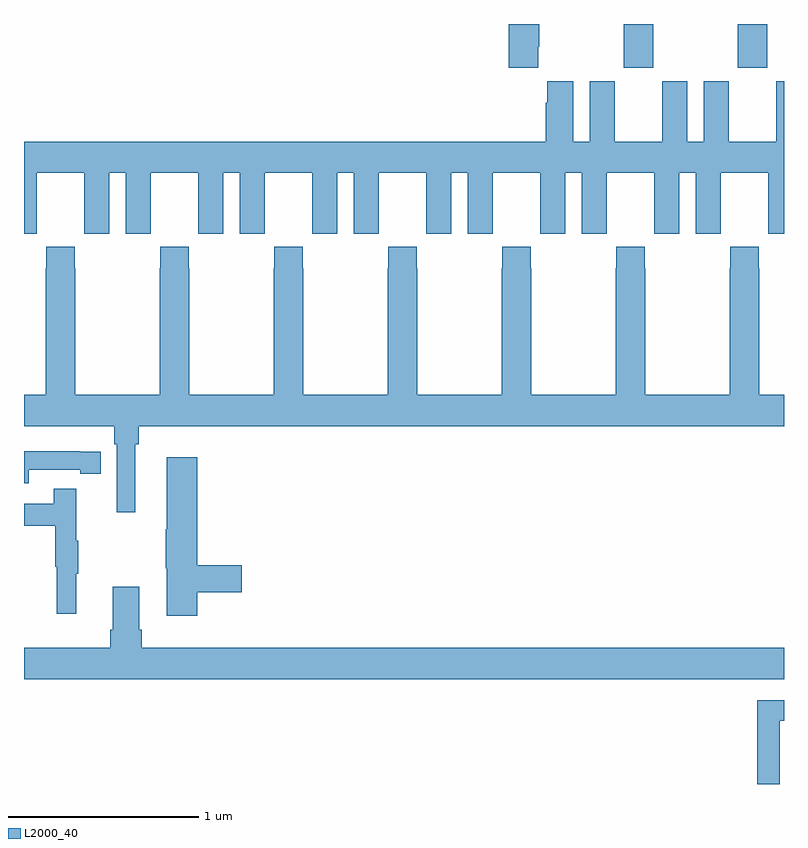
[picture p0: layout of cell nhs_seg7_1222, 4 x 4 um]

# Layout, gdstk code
import gdstk
lib = gdstk.Library(unit=1e-6, precision=1e-09)
def R(c, l, rs):  # rectangles x0, y0, x1, y1
    for r in rs: c.add(gdstk.rectangle(r[:2], r[2:], *l))
def P(c, l, *ps):  # polygons
    for p in ps: c.add(gdstk.Polygon(p, *l))
L2000_40 = (2000, 40)

nhs_seg7_1222 = lib.new_cell('nhs_seg7_1222')
R(nhs_seg7_1222, L2000_40, [(198.157,1067.769,198.312,1068), (198.757,1067.769,198.912,1068)])
P(nhs_seg7_1222, L2000_40, [(197.707,1067.881),(197.712,1067.881),(197.712,1068),(197.552,1068),(197.552,1067.769),(197.707,1067.769)],
  [(195,1066.896),(195.066,1066.896),(195.066,1067.008),(195.067,1067.008),(195.067,1067.216),(195.317,1067.216),(195.317,1067.008),(195.318,1067.008),(195.318,1066.896),(195.448,1066.896),(195.448,1067.216),(195.536,1067.216),(195.536,1066.896),(195.666,1066.896),(195.666,1067.008),(195.667,1067.008),(195.667,1067.216),(195.917,1067.216),(195.917,1067.008),(195.918,1067.008),(195.918,1066.896),(196.048,1066.896),(196.048,1067.216),(196.136,1067.216),(196.136,1066.896),(196.266,1066.896),(196.266,1067.008),(196.267,1067.008),(196.267,1067.216),(196.517,1067.216),(196.517,1067.008),(196.518,1067.008),(196.518,1066.896),(196.648,1066.896),(196.648,1067.216),(196.736,1067.216),(196.736,1066.896),(196.866,1066.896),(196.866,1067.008),(196.867,1067.008),(196.867,1067.216),(197.117,1067.216),(197.117,1067.008),(197.118,1067.008),(197.118,1066.896),(197.248,1066.896),(197.248,1067.216),(197.336,1067.216),(197.336,1066.896),(197.466,1066.896),(197.466,1067.008),(197.467,1067.008),(197.467,1067.216),(197.717,1067.216),(197.717,1067.008),(197.718,1067.008),(197.718,1066.896),(197.848,1066.896),(197.848,1067.216),(197.936,1067.216),(197.936,1066.896),(198.066,1066.896),(198.066,1067.008),(198.067,1067.008),(198.067,1067.216),(198.317,1067.216),(198.317,1067.008),(198.318,1067.008),(198.318,1066.896),(198.448,1066.896),(198.448,1067.216),(198.536,1067.216),(198.536,1066.896),(198.666,1066.896),(198.666,1067.008),(198.667,1067.008),(198.667,1067.216),(198.917,1067.216),(198.917,1067.008),(198.918,1067.008),(198.918,1066.896),(199,1066.896),(199,1067.698),(198.959,1067.698),(198.959,1067.38),(198.709,1067.38),(198.709,1067.698),(198.578,1067.698),(198.578,1067.38),(198.49,1067.38),(198.49,1067.698),(198.359,1067.698),(198.359,1067.38),(198.109,1067.38),(198.109,1067.698),(197.978,1067.698),(197.978,1067.38),(197.89,1067.38),(197.89,1067.698),(197.753,1067.698),(197.753,1067.585),(197.747,1067.585),(197.747,1067.38),(195,1067.38)],
  [(199,1066.048),(198.87,1066.048),(198.87,1066.715),(198.867,1066.715),(198.867,1066.828),(198.717,1066.828),(198.717,1066.715),(198.715,1066.715),(198.715,1066.048),(198.27,1066.048),(198.27,1066.715),(198.267,1066.715),(198.267,1066.828),(198.117,1066.828),(198.117,1066.715),(198.115,1066.715),(198.115,1066.048),(197.67,1066.048),(197.67,1066.715),(197.667,1066.715),(197.667,1066.828),(197.517,1066.828),(197.517,1066.715),(197.515,1066.715),(197.515,1066.048),(197.07,1066.048),(197.07,1066.715),(197.067,1066.715),(197.067,1066.828),(196.917,1066.828),(196.917,1066.715),(196.915,1066.715),(196.915,1066.048),(196.47,1066.048),(196.47,1066.715),(196.467,1066.715),(196.467,1066.828),(196.317,1066.828),(196.317,1066.715),(196.315,1066.715),(196.315,1066.048),(195.87,1066.048),(195.87,1066.715),(195.867,1066.715),(195.867,1066.828),(195.717,1066.828),(195.717,1066.715),(195.715,1066.715),(195.715,1066.048),(195.27,1066.048),(195.27,1066.715),(195.267,1066.715),(195.267,1066.828),(195.117,1066.828),(195.117,1066.715),(195.115,1066.715),(195.115,1066.048),(195,1066.048),(195,1065.884),(195.476,1065.884),(195.476,1065.788),(195.489,1065.788),(195.489,1065.429),(195.586,1065.429),(195.586,1065.788),(195.605,1065.788),(195.605,1065.884),(199,1065.884)],
  [(195.024,1065.654),(195.296,1065.654),(195.296,1065.634),(195.404,1065.634),(195.404,1065.75),(195.296,1065.75),(195.296,1065.751),(195,1065.751),(195,1065.582),(195.024,1065.582)],
  [(195.911,1065.01),(196.147,1065.01),(196.147,1065.152),(195.911,1065.152),(195.911,1065.721),(195.752,1065.721),(195.752,1065.341),(195.745,1065.341),(195.745,1065.135),(195.752,1065.135),(195.752,1064.886),(195.911,1064.886)],
  [(195.275,1065.107),(195.286,1065.107),(195.286,1065.281),(195.275,1065.281),(195.275,1065.553),(195.157,1065.553),(195.157,1065.474),(195,1065.474),(195,1065.358),(195.165,1065.358),(195.165,1065.144),(195.172,1065.144),(195.172,1064.895),(195.275,1064.895)],
  [(199,1064.716),(195.62,1064.716),(195.62,1064.812),(195.607,1064.812),(195.607,1065.037),(195.467,1065.037),(195.467,1064.812),(195.455,1064.812),(195.455,1064.716),(195,1064.716),(195,1064.552),(199,1064.552)],
  [(198.977,1064.334),(199,1064.334),(199,1064.442),(198.859,1064.442),(198.859,1064),(198.977,1064)])

lib.write_gds('nhs_seg7_1222.gds')
